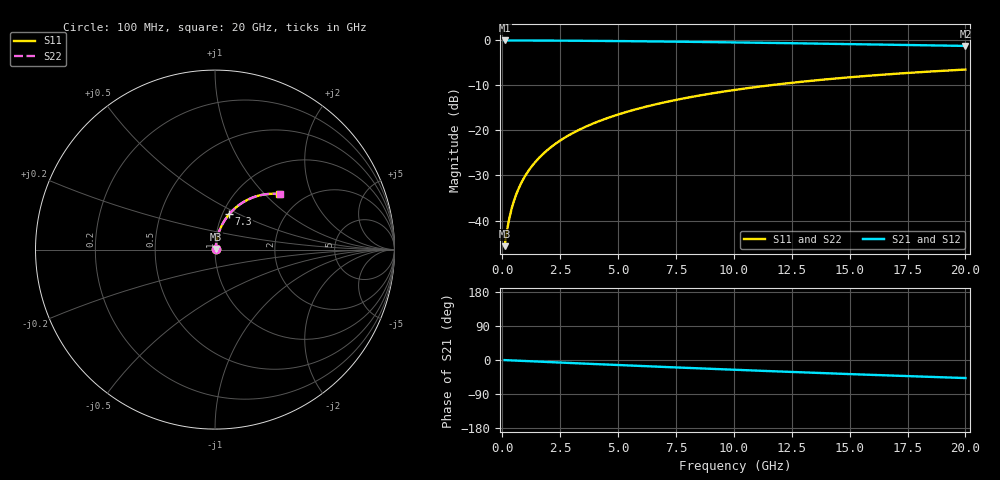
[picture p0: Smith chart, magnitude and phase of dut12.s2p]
! Touchstone file exported from HFSS 2026.1.0
!  File:  C:/ffzhzh/LocalFiles/Ansys_Project_Files/temp_train_TMRDL_12_1782880233_46784.aedt
!  Generated:  12:31:53 PM Jul  1, 2026
!  Design:  TMRDL
!  Project:  temp_train_TMRDL_12_1782880233_46784
! Variables:
!  h_bsmrdl = 2um
!  h_ox = 20um
!  h_rdl = 5um
!  h_sub = 80um
!  h_tmrdl = 5.11um
!  h_tsv = 80um
!  h_via = 3um
!  l_bsmrdl = 300um
!  l_sub = 1098.18um
!  l_tmrdl = 698.18um
!  m_sub = 200um
!  pitch = 40.04um
!  r_tsv = 6um
!  s_tmrdl = 10um
!  w_bsmrdl = 18um
!  w_sub = 500um
!  w_tmrdl = 12.04um
!  x_tsv_center1 = 704.2um
!  x_tsv_center2 = 1022.2um
!  x_tsv_center3 = 1732.42um
!  x_tsv_center4 = 2050.42um
!  x_tsv_center5 = 2760.64um
!  x_tsv_center6 = 3078.64um
# GHz S MA R 50.000000
! Terminal data exported
! Port[1] = TM_RDL1_1_T1
! Port[2] = TM_RDL1_1_T2
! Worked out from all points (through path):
!   200 points, 100 MHz to 20 GHz, reference 50 ohm
!   highest |S21| = -0.04 dB at 100 MHz (marker M1); lowest = -1.2 dB at 20 GHz (marker M2)
!   group delay of S21, straight-line fit = 6.62 ps
!   lowest |S11| = -45.7 dB at 100 MHz (marker M3), VSWR 1.01, Z = 50.4 + j0.326 ohm
!   |S11| at or under -10 dB: start of sweep to 11.54 GHz
!   |S22| runs from -45.7 to -6.5 dB; largest |S21 - S12| = 2.6e-15
!   S11 on the Smith chart (normalised r, x): 100 MHz: 1.01, +0.01; 7.3 GHz: 1.08, +0.45; 20 GHz: 1.53, +1.22
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0.1  0.005192 38.5  0.9959 -0.3  0.9959 -0.3  0.005192 38.5
! Gamma 0 0 0 0
! Port Impedance 50 0 50 0
0.2  0.007668 56.8  0.9958 -0.6  0.9958 -0.6  0.007668 56.8
0.3  0.0105 65.3  0.9957 -0.8  0.9957 -0.8  0.0105 65.3
0.4  0.01345 70.1  0.9956 -1.1  0.9956 -1.1  0.01345 70.1
0.5  0.01643 73.0  0.9955 -1.4  0.9955 -1.4  0.01643 73.0
0.6  0.01944 75.0  0.9953 -1.6  0.9953 -1.6  0.01944 75.0
0.8  0.0255 77.4  0.9951 -2.2  0.9951 -2.2  0.0255 77.4
1.1  0.03465 79.1  0.9946 -3.0  0.9946 -3.0  0.03465 79.1
1.5  0.04687 79.8  0.9939 -4.1  0.9939 -4.1  0.04687 79.8
1.8  0.05602 79.7  0.9932 -4.9  0.9932 -4.9  0.05602 79.7
2.1  0.06512 79.5  0.9924 -5.7  0.9924 -5.7  0.06512 79.5
2.7  0.08319 78.6  0.9905 -7.3  0.9905 -7.3  0.08319 78.6
3.5  0.1069 77.0  0.9875 -9.4  0.9875 -9.4  0.1069 77.0
4.2  0.1273 75.4  0.9844 -11.2  0.9844 -11.2  0.1273 75.4
5  0.1501 73.5  0.9804 -13.3  0.9804 -13.3  0.1501 73.5
6.8  0.1995 69.3  0.9701 -17.9  0.9701 -17.9  0.1995 69.3
7.3  0.2127 68.1  0.9669 -19.1  0.9669 -19.1  0.2127 68.1
8.6  0.2462 65.1  0.9581 -22.3  0.9581 -22.3  0.2462 65.1
10.1  0.2829 61.6  0.9472 -25.9  0.9472 -25.9  0.2829 61.6
13.4  0.3566 54.3  0.921 -33.6  0.921 -33.6  0.3566 54.3
16.7  0.4202 47.3  0.8934 -40.8  0.8934 -40.8  0.4202 47.3
20  0.4738 40.7  0.8662 -47.6  0.8662 -47.6  0.4737 40.7
